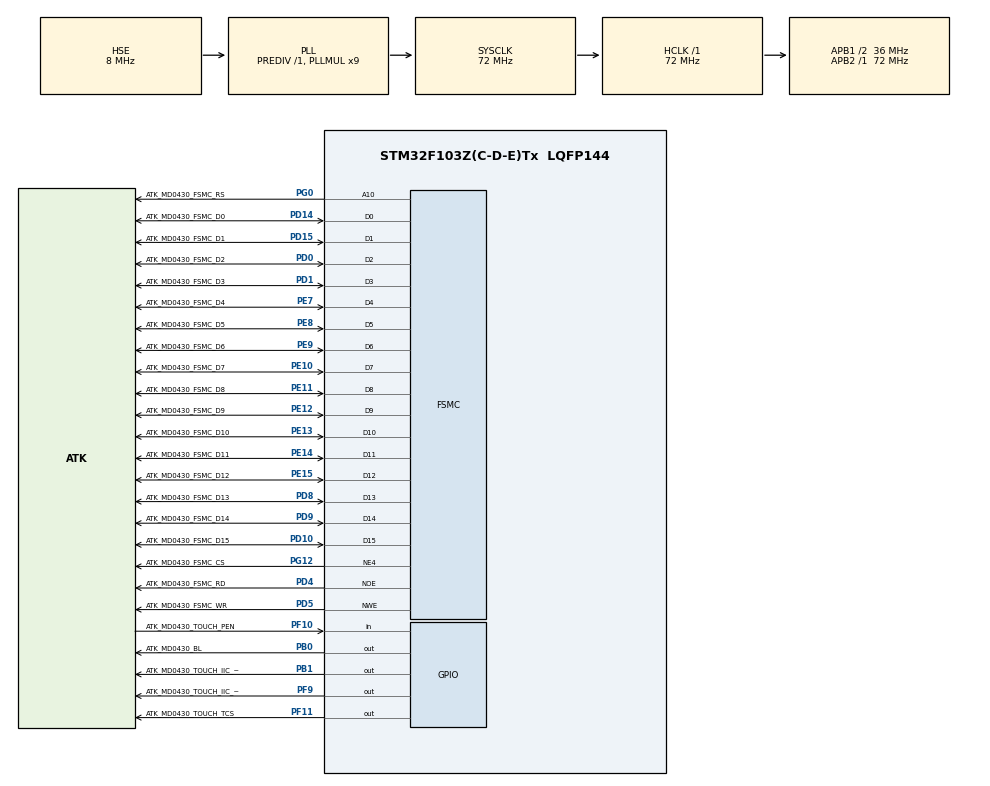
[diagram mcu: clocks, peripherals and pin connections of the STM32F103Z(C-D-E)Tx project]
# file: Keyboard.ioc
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FSMC.AddressSetupTime4=0x00
FSMC.BusTurnAroundDuration4=0x00
FSMC.DataSetupTime4=0x0f
FSMC.ExtendedAddressSetupTime4=0x00
FSMC.ExtendedBusTurnAroundDuration4=0
FSMC.ExtendedDataSetupTime4=0x01
FSMC.ExtendedMode4=FSMC_EXTENDED_MODE_ENABLE
Mcu.Family=STM32F1
Mcu.Name=STM32F103Z(C-D-E)Tx
Mcu.Package=LQFP144
NVIC.PriorityGroup=NVIC_PRIORITYGROUP_4
OSC_IN.Mode=HSE-External-Oscillator
OSC_IN.Signal=RCC_OSC_IN
OSC_OUT.Mode=HSE-External-Oscillator
OSC_OUT.Signal=RCC_OSC_OUT
PA13.Mode=Serial_Wire
PA13.Signal=SYS_JTMS-SWDIO
PA14.Mode=Serial_Wire
PA14.Signal=SYS_JTCK-SWCLK
PB0.GPIO_Label=ATK_MD0430_BL
PB0.GPIO_PuPd=GPIO_PULLUP
PB0.GPIO_Speed=GPIO_SPEED_FREQ_HIGH
PB0.PinState=GPIO_PIN_SET
PB0.Signal=GPIO_Output
PB1.GPIO_Label=ATK_MD0430_TOUCH_IIC_SCL
PB1.GPIO_PuPd=GPIO_PULLUP
PB1.GPIO_Speed=GPIO_SPEED_FREQ_HIGH
PB1.PinState=GPIO_PIN_SET
PB1.Signal=GPIO_Output
PC14-OSC32_IN.Mode=LSE-External-Oscillator
PC14-OSC32_IN.Signal=RCC_OSC32_IN
PC15-OSC32_OUT.Mode=LSE-External-Oscillator
PC15-OSC32_OUT.Signal=RCC_OSC32_OUT
PD0.GPIO_Label=ATK_MD0430_FSMC_D2
PD0.Signal=FSMC_D2_DA2
PD1.GPIO_Label=ATK_MD0430_FSMC_D3
PD1.Signal=FSMC_D3_DA3
PD10.GPIO_Label=ATK_MD0430_FSMC_D15
PD10.Signal=FSMC_D15_DA15
PD14.GPIO_Label=ATK_MD0430_FSMC_D0
PD14.Signal=FSMC_D0_DA0
PD15.GPIO_Label=ATK_MD0430_FSMC_D1
PD15.Signal=FSMC_D1_DA1
PD4.GPIO_Label=ATK_MD0430_FSMC_RD
PD4.Signal=FSMC_NOE
PD5.GPIO_Label=ATK_MD0430_FSMC_WR
PD5.Signal=FSMC_NWE
PD8.GPIO_Label=ATK_MD0430_FSMC_D13
PD8.Signal=FSMC_D13_DA13
PD9.GPIO_Label=ATK_MD0430_FSMC_D14
PD9.Signal=FSMC_D14_DA14
PE10.GPIO_Label=ATK_MD0430_FSMC_D7
PE10.Signal=FSMC_D7_DA7
PE11.GPIO_Label=ATK_MD0430_FSMC_D8
PE11.Signal=FSMC_D8_DA8
PE12.GPIO_Label=ATK_MD0430_FSMC_D9
PE12.Signal=FSMC_D9_DA9
PE13.GPIO_Label=ATK_MD0430_FSMC_D10
PE13.Signal=FSMC_D10_DA10
PE14.GPIO_Label=ATK_MD0430_FSMC_D11
PE14.Signal=FSMC_D11_DA11
PE15.GPIO_Label=ATK_MD0430_FSMC_D12
PE15.Signal=FSMC_D12_DA12
PE7.GPIO_Label=ATK_MD0430_FSMC_D4
PE7.Signal=FSMC_D4_DA4
PE8.GPIO_Label=ATK_MD0430_FSMC_D5
PE8.Signal=FSMC_D5_DA5
PE9.GPIO_Label=ATK_MD0430_FSMC_D6
PE9.Signal=FSMC_D6_DA6
PF10.GPIO_Label=ATK_MD0430_TOUCH_PEN
PF10.GPIO_PuPd=GPIO_NOPULL
PF10.Signal=GPIO_Input
PF11.GPIO_Label=ATK_MD0430_TOUCH_TCS
PF11.GPIO_ModeDefaultOutputPP=GPIO_MODE_OUTPUT_PP
PF11.GPIO_PuPd=GPIO_PULLUP
PF11.GPIO_Speed=GPIO_SPEED_FREQ_HIGH
PF11.PinState=GPIO_PIN_SET
PF11.Signal=GPIO_Output
PF9.GPIO_Label=ATK_MD0430_TOUCH_IIC_SDA
PF9.GPIO_ModeDefaultOutputPP=GPIO_MODE_OUTPUT_OD
PF9.GPIO_PuPd=GPIO_PULLUP
PF9.GPIO_Speed=GPIO_SPEED_FREQ_HIGH
PF9.PinState=GPIO_PIN_SET
PF9.Signal=GPIO_Output
PG0.GPIO_Label=ATK_MD0430_FSMC_RS
PG0.Signal=FSMC_A10
PG12.GPIO_Label=ATK_MD0430_FSMC_CS
PG12.Mode=NorPsramChipSelect4_4
PG12.Signal=FSMC_NE4
ProjectManager.HeapSize=0x0400
ProjectManager.StackSize=0x0200
ProjectManager.TargetToolchain=Makefile
RCC.AHBFreq_Value=72000000
RCC.APB1CLKDivider=RCC_HCLK_DIV2
RCC.APB1Freq_Value=36000000
RCC.APB1TimFreq_Value=72000000
RCC.APB2Freq_Value=72000000
RCC.APB2TimFreq_Value=72000000
RCC.HCLKFreq_Value=72000000
RCC.PLLMUL=RCC_PLL_MUL9
RCC.PLLSourceVirtual=RCC_PLLSOURCE_HSE
RCC.SYSCLKFreq_VALUE=72000000
RCC.SYSCLKSource=RCC_SYSCLKSOURCE_PLLCLK
RCC.USBFreq_Value=48000000
RCC.USBPrescaler=RCC_USBCLKSOURCE_PLL_DIV1_5
SH.FSMC_A10.0=FSMC_A10,A10_4
SH.FSMC_D0_DA0.0=FSMC_D0,16b-d4
SH.FSMC_D10_DA10.0=FSMC_D10,16b-d4
SH.FSMC_D11_DA11.0=FSMC_D11,16b-d4
SH.FSMC_D12_DA12.0=FSMC_D12,16b-d4
SH.FSMC_D13_DA13.0=FSMC_D13,16b-d4
SH.FSMC_D14_DA14.0=FSMC_D14,16b-d4
SH.FSMC_D15_DA15.0=FSMC_D15,16b-d4
SH.FSMC_D1_DA1.0=FSMC_D1,16b-d4
SH.FSMC_D2_DA2.0=FSMC_D2,16b-d4
SH.FSMC_D3_DA3.0=FSMC_D3,16b-d4
SH.FSMC_D4_DA4.0=FSMC_D4,16b-d4
SH.FSMC_D5_DA5.0=FSMC_D5,16b-d4
SH.FSMC_D6_DA6.0=FSMC_D6,16b-d4
SH.FSMC_D7_DA7.0=FSMC_D7,16b-d4
SH.FSMC_D8_DA8.0=FSMC_D8,16b-d4
SH.FSMC_D9_DA9.0=FSMC_D9,16b-d4
SH.FSMC_NOE.0=FSMC_NOE,Lcd4
SH.FSMC_NWE.0=FSMC_NWE,Lcd4
board=custom

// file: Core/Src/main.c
/* USER CODE BEGIN Header */
/**
  ******************************************************************************
  * @file           : main.c
  * @brief          : Main program body
  ******************************************************************************
  * @attention
  *
  * Copyright (c) 2025 STMicroelectronics.
  * All rights reserved.
  *
  * This software is licensed under terms that can be found in the LICENSE file
  * in the root directory of this software component.
  * If no LICENSE file comes with this software, it is provided AS-IS.
  *
  ******************************************************************************
  */
/* USER CODE END Header */
#include "main.h"

/* USER CODE BEGIN Includes */
#include <math.h>
#include "atk_md0430_touch.h"
#include "delay.h"

#include "display.h"
/* USER CODE END Includes */

/* USER CODE BEGIN PD */
#define PI (float)(3.1415926)
/* USER CODE END PD */

SRAM_HandleTypeDef hsram4;

/* USER CODE BEGIN PV */
display_ctx ctx;
/* USER CODE END PV */

void SystemClock_Config(void);
static void MX_GPIO_Init(void);
static void MX_FSMC_Init(void);

int main(void)
{

  /* MCU Configuration--------------------------------------------------------*/

  /* Reset of all peripherals, Initializes the Flash interface and the Systick. */
  HAL_Init();

  /* USER CODE BEGIN Init */
  ctx = display_init();
  /* USER CODE END Init */

  /* Configure the system clock */
  SystemClock_Config();

  /* USER CODE BEGIN SysInit */
  delay_init();
  /* USER CODE END SysInit */

  /* Initialize all configured peripherals */
  MX_GPIO_Init();
  MX_FSMC_Init();
  /* USER CODE BEGIN 2 */
  uint8_t ret;

  ret = atk_md0430_init();
  if (ret != 0)
  {
      while (1)
      {
          delay_ms(200);
      }
  }
  /* USER CODE END 2 */

  /* Infinite loop */
  /* USER CODE BEGIN WHILE */

  lv_obj_set_style_bg_color(lv_screen_active(), lv_color_hex(0x000000), LV_PART_MAIN);
  lv_obj_set_style_text_color(lv_screen_active(), lv_color_hex(0xffffff), LV_PART_MAIN);

  display_layout(ctx);
  while (1)
  {
    // demo_show_cube();
    lv_timer_handler();
    /* USER CODE END WHILE */

  }
}

void SystemClock_Config(void)
{
  RCC_OscInitTypeDef RCC_OscInitStruct = {0};
  RCC_ClkInitTypeDef RCC_ClkInitStruct = {0};

  /** Initializes the RCC Oscillators according to the specified parameters
  * in the RCC_OscInitTypeDef structure.
  */
  RCC_OscInitStruct.OscillatorType = RCC_OSCILLATORTYPE_HSE;
  RCC_OscInitStruct.HSEState = RCC_HSE_ON;
  RCC_OscInitStruct.HSEPredivValue = RCC_HSE_PREDIV_DIV1;
  RCC_OscInitStruct.HSIState = RCC_HSI_ON;
  RCC_OscInitStruct.PLL.PLLState = RCC_PLL_ON;
  RCC_OscInitStruct.PLL.PLLSource = RCC_PLLSOURCE_HSE;
  RCC_OscInitStruct.PLL.PLLMUL = RCC_PLL_MUL9;
  if (HAL_RCC_OscConfig(&RCC_OscInitStruct) != HAL_OK)
  {
    Error_Handler();
  }

  /** Initializes the CPU, AHB and APB buses clocks
  */
  RCC_ClkInitStruct.ClockType = RCC_CLOCKTYPE_HCLK|RCC_CLOCKTYPE_SYSCLK
                              |RCC_CLOCKTYPE_PCLK1|RCC_CLOCKTYPE_PCLK2;
  RCC_ClkInitStruct.SYSCLKSource = RCC_SYSCLKSOURCE_PLLCLK;
  RCC_ClkInitStruct.AHBCLKDivider = RCC_SYSCLK_DIV1;
  RCC_ClkInitStruct.APB1CLKDivider = RCC_HCLK_DIV2;
  RCC_ClkInitStruct.APB2CLKDivider = RCC_HCLK_DIV1;

  if (HAL_RCC_ClockConfig(&RCC_ClkInitStruct, FLASH_LATENCY_2) != HAL_OK)
  {
    Error_Handler();
  }
}

static void MX_GPIO_Init(void)
{
  GPIO_InitTypeDef GPIO_InitStruct = {0};

  /* GPIO Ports Clock Enable */
  __HAL_RCC_GPIOC_CLK_ENABLE();
  __HAL_RCC_GPIOF_CLK_ENABLE();
  __HAL_RCC_GPIOB_CLK_ENABLE();
  __HAL_RCC_GPIOG_CLK_ENABLE();
  __HAL_RCC_GPIOE_CLK_ENABLE();
  __HAL_RCC_GPIOD_CLK_ENABLE();
  __HAL_RCC_GPIOA_CLK_ENABLE();

  /*Configure GPIO pin Output Level */
  HAL_GPIO_WritePin(GPIOF, ATK_MD0430_TOUCH_IIC_SDA_Pin|ATK_MD0430_TOUCH_TCS_Pin, GPIO_PIN_SET);

  /*Configure GPIO pin Output Level */
  HAL_GPIO_WritePin(GPIOB, ATK_MD0430_BL_Pin|ATK_MD0430_TOUCH_IIC_SCL_Pin, GPIO_PIN_SET);

  /*Configure GPIO pin : ATK_MD0430_TOUCH_IIC_SDA_Pin */
  GPIO_InitStruct.Pin = ATK_MD0430_TOUCH_IIC_SDA_Pin;
  GPIO_InitStruct.Mode = GPIO_MODE_OUTPUT_OD;
  GPIO_InitStruct.Pull = GPIO_PULLUP;
  GPIO_InitStruct.Speed = GPIO_SPEED_FREQ_HIGH;
  HAL_GPIO_Init(ATK_MD0430_TOUCH_IIC_SDA_GPIO_Port, &GPIO_InitStruct);

  /*Configure GPIO pin : ATK_MD0430_TOUCH_PEN_Pin */
  GPIO_InitStruct.Pin = ATK_MD0430_TOUCH_PEN_Pin;
  GPIO_InitStruct.Mode = GPIO_MODE_INPUT;
  GPIO_InitStruct.Pull = GPIO_NOPULL;
  HAL_GPIO_Init(ATK_MD0430_TOUCH_PEN_GPIO_Port, &GPIO_InitStruct);

  /*Configure GPIO pins : ATK_MD0430_BL_Pin ATK_MD0430_TOUCH_IIC_SCL_Pin */
  GPIO_InitStruct.Pin = ATK_MD0430_BL_Pin|ATK_MD0430_TOUCH_IIC_SCL_Pin;
  GPIO_InitStruct.Mode = GPIO_MODE_OUTPUT_PP;
  GPIO_InitStruct.Pull = GPIO_PULLUP;
  GPIO_InitStruct.Speed = GPIO_SPEED_FREQ_HIGH;
  HAL_GPIO_Init(GPIOB, &GPIO_InitStruct);

  /*Configure GPIO pin : ATK_MD0430_TOUCH_TCS_Pin */
  GPIO_InitStruct.Pin = ATK_MD0430_TOUCH_TCS_Pin;
  GPIO_InitStruct.Mode = GPIO_MODE_OUTPUT_PP;
  GPIO_InitStruct.Pull = GPIO_PULLUP;
  GPIO_InitStruct.Speed = GPIO_SPEED_FREQ_HIGH;
  HAL_GPIO_Init(ATK_MD0430_TOUCH_TCS_GPIO_Port, &GPIO_InitStruct);

}

/* FSMC initialization function */
static void MX_FSMC_Init(void)
{

  FSMC_NORSRAM_TimingTypeDef Timing = {0};
  FSMC_NORSRAM_TimingTypeDef ExtTiming = {0};

  /** Perform the SRAM4 memory initialization sequence
  */
  hsram4.Instance = FSMC_NORSRAM_DEVICE;
  hsram4.Extended = FSMC_NORSRAM_EXTENDED_DEVICE;
  /* hsram4.Init */
  hsram4.Init.NSBank = FSMC_NORSRAM_BANK4;
  hsram4.Init.DataAddressMux = FSMC_DATA_ADDRESS_MUX_DISABLE;
  hsram4.Init.MemoryType = FSMC_MEMORY_TYPE_SRAM;
  hsram4.Init.MemoryDataWidth = FSMC_NORSRAM_MEM_BUS_WIDTH_16;
  hsram4.Init.BurstAccessMode = FSMC_BURST_ACCESS_MODE_DISABLE;
  hsram4.Init.WaitSignalPolarity = FSMC_WAIT_SIGNAL_POLARITY_LOW;
  hsram4.Init.WrapMode = FSMC_WRAP_MODE_DISABLE;
  hsram4.Init.WaitSignalActive = FSMC_WAIT_TIMING_BEFORE_WS;
  hsram4.Init.WriteOperation = FSMC_WRITE_OPERATION_ENABLE;
  hsram4.Init.WaitSignal = FSMC_WAIT_SIGNAL_DISABLE;
  hsram4.Init.ExtendedMode = FSMC_EXTENDED_MODE_ENABLE;
  hsram4.Init.AsynchronousWait = FSMC_ASYNCHRONOUS_WAIT_DISABLE;
  hsram4.Init.WriteBurst = FSMC_WRITE_BURST_DISABLE;
  /* Timing */
  Timing.AddressSetupTime = 0x00;
  Timing.AddressHoldTime = 15;
  Timing.DataSetupTime = 0x0f;
  Timing.BusTurnAroundDuration = 0x00;
  Timing.CLKDivision = 16;
  Timing.DataLatency = 17;
  Timing.AccessMode = FSMC_ACCESS_MODE_A;
  /* ExtTiming */
  ExtTiming.AddressSetupTime = 0x00;
  ExtTiming.AddressHoldTime = 15;
  ExtTiming.DataSetupTime = 0x01;
  ExtTiming.BusTurnAroundDuration = 0;
  ExtTiming.CLKDivision = 16;
  ExtTiming.DataLatency = 17;
  ExtTiming.AccessMode = FSMC_ACCESS_MODE_A;

  if (HAL_SRAM_Init(&hsram4, &Timing, &ExtTiming) != HAL_OK)
  {
    Error_Handler( );
  }

  /** Disconnect NADV
  */

  __HAL_AFIO_FSMCNADV_DISCONNECTED();

}

void Error_Handler(void)
{
  __disable_irq();
  while (1)
  {
  }
}
